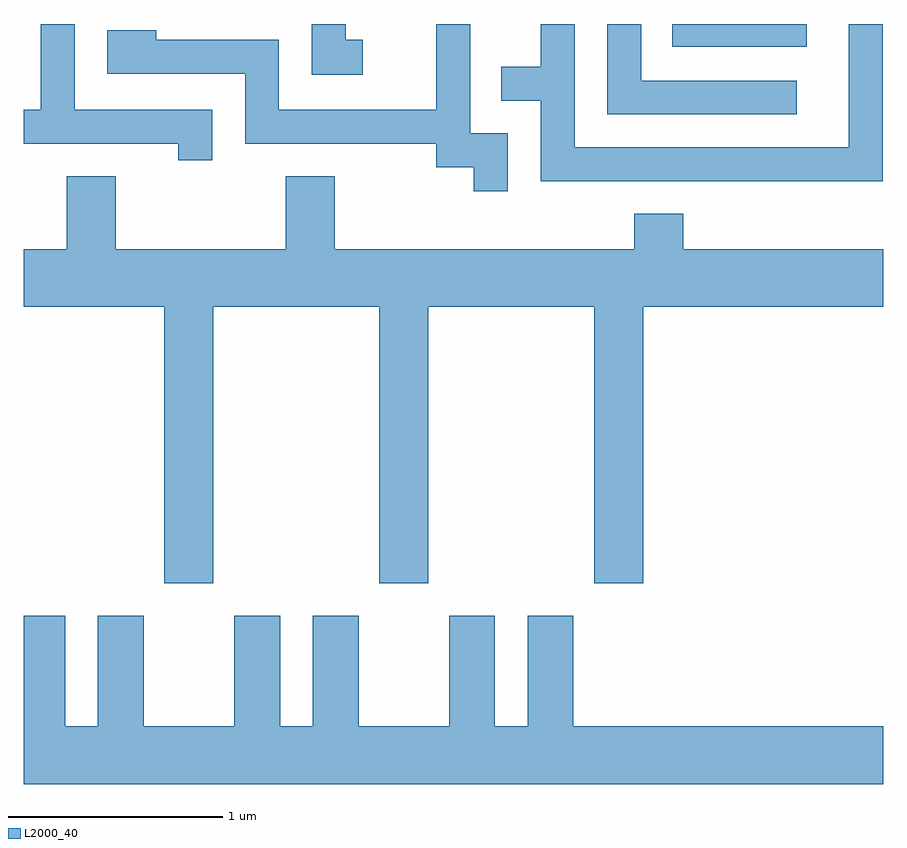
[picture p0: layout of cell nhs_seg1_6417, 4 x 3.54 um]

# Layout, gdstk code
import gdstk
lib = gdstk.Library(unit=1e-6, precision=1e-09)
def R(c, l, rs):  # rectangles x0, y0, x1, y1
    for r in rs: c.add(gdstk.rectangle(r[:2], r[2:], *l))
def P(c, l, *ps):  # polygons
    for p in ps: c.add(gdstk.Polygon(p, *l))
L2000_40 = (2000, 40)

nhs_seg1_6417 = lib.new_cell('nhs_seg1_6417')
R(nhs_seg1_6417, L2000_40, [(380.628,969.606,381.254,969.712)])
P(nhs_seg1_6417, L2000_40, [(381.208,969.449),(380.484,969.449),(380.484,969.712),(380.326,969.712),(380.326,969.291),(381.208,969.291)],
  [(379.188,969.639),(379.109,969.639),(379.109,969.712),(378.951,969.712),(378.951,969.476),(379.188,969.476)],
  [(378.489,969.314),(377.849,969.314),(377.849,969.712),(377.691,969.712),(377.691,969.314),(377.611,969.314),(377.611,969.156),(378.331,969.156),(378.331,969.078),(378.489,969.078)],
  [(379.864,969.204),(379.689,969.204),(379.689,969.712),(379.531,969.712),(379.531,969.314),(378.799,969.314),(378.799,969.639),(378.229,969.639),(378.229,969.684),(378.001,969.684),(378.001,969.481),(378.641,969.481),(378.641,969.156),(379.531,969.156),(379.531,969.046),(379.706,969.046),(379.706,968.933),(379.864,968.933)],
  [(381.609,969.712),(381.451,969.712),(381.451,969.139),(380.174,969.139),(380.174,969.712),(380.016,969.712),(380.016,969.514),(379.833,969.514),(379.833,969.356),(380.016,969.356),(380.016,968.981),(381.609,968.981)],
  [(378.494,968.396),(379.266,968.396),(379.266,967.111),(379.494,967.111),(379.494,968.396),(380.266,968.396),(380.266,967.111),(380.494,967.111),(380.494,968.396),(381.611,968.396),(381.611,968.664),(380.679,968.664),(380.679,968.829),(380.451,968.829),(380.451,968.664),(379.059,968.664),(379.059,969.004),(378.831,969.004),(378.831,968.664),(378.039,968.664),(378.039,969.004),(377.811,969.004),(377.811,968.664),(377.611,968.664),(377.611,968.396),(378.266,968.396),(378.266,967.111),(378.494,967.111)],
  [(381.611,966.444),(380.169,966.444),(380.169,966.959),(379.956,966.959),(379.956,966.444),(379.804,966.444),(379.804,966.959),(379.591,966.959),(379.591,966.444),(379.169,966.444),(379.169,966.959),(378.956,966.959),(378.956,966.444),(378.804,966.444),(378.804,966.959),(378.591,966.959),(378.591,966.444),(378.169,966.444),(378.169,966.959),(377.956,966.959),(377.956,966.444),(377.804,966.444),(377.804,966.959),(377.611,966.959),(377.611,966.176),(381.611,966.176)])

lib.write_gds('nhs_seg1_6417.gds')
